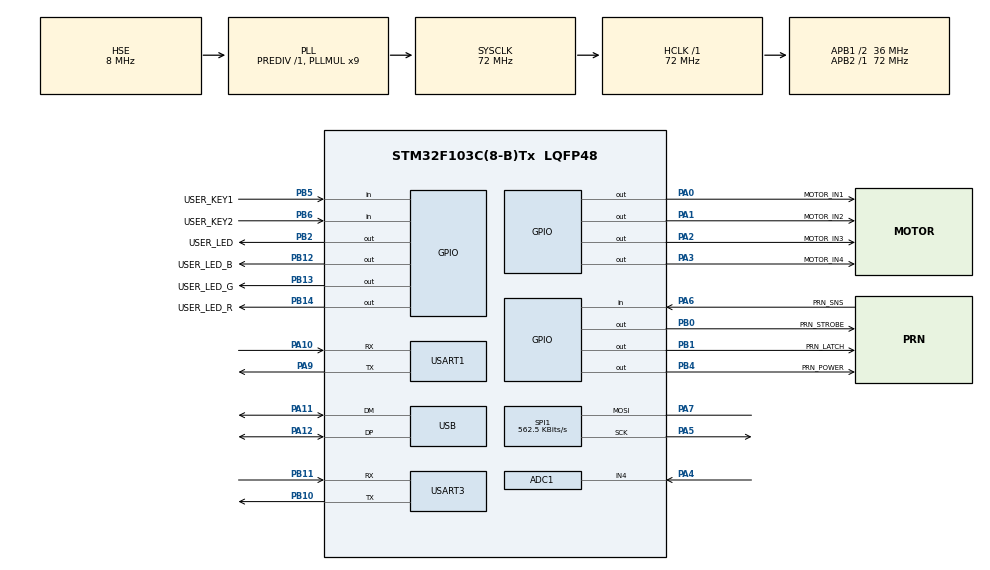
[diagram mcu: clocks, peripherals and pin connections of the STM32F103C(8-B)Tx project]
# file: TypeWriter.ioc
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ADC1.Channel-0\#ChannelRegularConversion=ADC_CHANNEL_4
ADC1.ContinuousConvMode=ENABLE
ADC1.NbrOfConversionFlag=1
ADC1.Rank-0\#ChannelRegularConversion=1
ADC1.SamplingTime-0\#ChannelRegularConversion=ADC_SAMPLETIME_239CYCLES_5
ADC1.master=1
Dma.ADC1.0.Direction=DMA_PERIPH_TO_MEMORY
Dma.ADC1.0.Instance=DMA1_Channel1
Dma.ADC1.0.MemDataAlignment=DMA_MDATAALIGN_HALFWORD
Dma.ADC1.0.MemInc=DMA_MINC_ENABLE
Dma.ADC1.0.Mode=DMA_CIRCULAR
Dma.ADC1.0.PeriphDataAlignment=DMA_PDATAALIGN_HALFWORD
Dma.ADC1.0.PeriphInc=DMA_PINC_DISABLE
Dma.ADC1.0.Priority=DMA_PRIORITY_LOW
Dma.Request0=ADC1
FREERTOS.Queues01=usblinkRxRequestQueue,1,uint8_t,0,Dynamic,NULL,NULL
FREERTOS.Tasks01=peripheralTask,16,150,peripheralStartTask,Default,NULL,Dynamic,NULL,NULL;usblinkTxTask,8,64,usblinkTxStartTask,Default,NULL,Dynamic,NULL,NULL;usblinkRxTask,8,200,usblinkRxStartTask,Default,NULL,Dynamic,NULL,NULL;inoutDeviceTask,16,64,inoutDeviceStartTask,Default,NULL,Dynamic,NULL,NULL
FREERTOS.configMINIMAL_STACK_SIZE=64
Mcu.Family=STM32F1
Mcu.Name=STM32F103C(8-B)Tx
Mcu.Package=LQFP48
NVIC.ADC1_2_IRQn=true\:5\:0\:false\:false\:true\:true\:true\:true
NVIC.DMA1_Channel1_IRQn=true\:5\:0\:false\:false\:true\:true\:false\:true
NVIC.PriorityGroup=NVIC_PRIORITYGROUP_4
NVIC.TIM1_UP_IRQn=true\:0\:0\:false\:false\:true\:false\:false\:true
NVIC.TIM3_IRQn=true\:5\:0\:false\:false\:true\:true\:true\:true
NVIC.TIM4_IRQn=true\:5\:0\:false\:false\:true\:true\:true\:true
NVIC.TimeBase=TIM1_UP_IRQn
NVIC.TimeBaseIP=TIM1
NVIC.USB_HP_CAN1_TX_IRQn=true\:5\:0\:false\:false\:true\:false\:true\:true
NVIC.USB_LP_CAN1_RX0_IRQn=true\:5\:0\:false\:false\:true\:false\:false\:true
PA0-WKUP.GPIO_Label=MOTOR_IN1
PA0-WKUP.Signal=GPIO_Output
PA1.GPIO_Label=MOTOR_IN2
PA1.Signal=GPIO_Output
PA10.Mode=Asynchronous
PA10.Signal=USART1_RX
PA11.Mode=Device
PA11.Signal=USB_DM
PA12.Mode=Device
PA12.Signal=USB_DP
PA13.Mode=Serial_Wire
PA13.Signal=SYS_JTMS-SWDIO
PA14.Mode=Serial_Wire
PA14.Signal=SYS_JTCK-SWCLK
PA2.GPIO_Label=MOTOR_IN3
PA2.Signal=GPIO_Output
PA3.GPIO_Label=MOTOR_IN4
PA3.Signal=GPIO_Output
PA4.Signal=ADCx_IN4
PA5.Mode=Simplex_Bidirectional_Master
PA5.Signal=SPI1_SCK
PA6.GPIO_Label=PRN_SNS
PA6.Signal=GPIO_Input
PA7.Mode=Simplex_Bidirectional_Master
PA7.Signal=SPI1_MOSI
PA9.Mode=Asynchronous
PA9.Signal=USART1_TX
PB0.GPIO_Label=PRN_STROBE
PB0.Signal=GPIO_Output
PB1.GPIO_Label=PRN_LATCH
PB1.Signal=GPIO_Output
PB10.Mode=Asynchronous
PB10.Signal=USART3_TX
PB11.Mode=Asynchronous
PB11.Signal=USART3_RX
PB12.GPIO_Label=USER_LED_B
PB12.PinState=GPIO_PIN_SET
PB12.Signal=GPIO_Output
PB13.GPIO_Label=USER_LED_G
PB13.PinState=GPIO_PIN_SET
PB13.Signal=GPIO_Output
PB14.GPIO_Label=USER_LED_R
PB14.PinState=GPIO_PIN_SET
PB14.Signal=GPIO_Output
PB2.GPIO_Label=USER_LED
PB2.Signal=GPIO_Output
PB4.GPIO_Label=PRN_POWER
PB4.Signal=GPIO_Output
PB5.GPIO_Label=USER_KEY1
PB5.GPIO_PuPd=GPIO_PULLUP
PB5.Signal=GPIO_Input
PB6.GPIO_Label=USER_KEY2
PB6.GPIO_PuPd=GPIO_PULLUP
PB6.Signal=GPIO_Input
PD0-OSC_IN.Mode=HSE-External-Oscillator
PD0-OSC_IN.Signal=RCC_OSC_IN
PD1-OSC_OUT.Mode=HSE-External-Oscillator
PD1-OSC_OUT.Signal=RCC_OSC_OUT
ProjectManager.HeapSize=0x400
ProjectManager.StackSize=0x400
ProjectManager.TargetToolchain=MDK-ARM V5.27
RCC.ADCPresc=RCC_ADCPCLK2_DIV6
RCC.AHBFreq_Value=72000000
RCC.APB1CLKDivider=RCC_HCLK_DIV2
RCC.APB1Freq_Value=36000000
RCC.APB1TimFreq_Value=72000000
RCC.APB2Freq_Value=72000000
RCC.APB2TimFreq_Value=72000000
RCC.HCLKFreq_Value=72000000
RCC.PLLMUL=RCC_PLL_MUL9
RCC.PLLSourceVirtual=RCC_PLLSOURCE_HSE
RCC.SYSCLKFreq_VALUE=72000000
RCC.SYSCLKSource=RCC_SYSCLKSOURCE_PLLCLK
RCC.USBFreq_Value=48000000
RCC.USBPrescaler=RCC_USBCLKSOURCE_PLL_DIV1_5
SH.ADCx_IN4.0=ADC1_IN4,IN4
SPI1.BaudRatePrescaler=SPI_BAUDRATEPRESCALER_128
SPI1.CalculateBaudRate=562.5 KBits/s
SPI1.Direction=SPI_DIRECTION_1LINE
SPI1.Mode=SPI_MODE_MASTER
SPI1.VirtualType=VM_MASTER
TIM3.Period=720-1
TIM3.Prescaler=100-1
TIM4.AutoReloadPreload=TIM_AUTORELOAD_PRELOAD_ENABLE
TIM4.Period=100-1
TIM4.Prescaler=72-1
USART1.VirtualMode=VM_ASYNC
USART3.VirtualMode=VM_ASYNC
USB_DEVICE.APP_RX_DATA_SIZE=200
USB_DEVICE.APP_TX_DATA_SIZE=200
USB_DEVICE.CLASS_NAME_FS=CDC
USB_DEVICE.PRODUCT_STRING_CDC_FS=TypeWriter Virtual ComPort
USB_DEVICE.VirtualMode=Cdc
USB_DEVICE.VirtualModeFS=Cdc_FS
VP_FREERTOS_VS_CMSIS_V2.Mode=CMSIS_V2
VP_SYS_VS_tim1.Mode=TIM1
VP_TIM3_VS_ClockSourceINT.Mode=Internal
VP_TIM4_VS_ClockSourceINT.Mode=Internal
VP_USB_DEVICE_VS_USB_DEVICE_CDC_FS.Mode=CDC_FS
board=custom

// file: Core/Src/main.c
/* USER CODE BEGIN Header */
/**
  ******************************************************************************
  * @file           : main.c
  * @brief          : Main program body
  ******************************************************************************
  * @attention
  *
  * <h2><center>&copy; Copyright (c) 2021 STMicroelectronics.
  * All rights reserved.</center></h2>
  *
  * This software component is licensed by ST under Ultimate Liberty license
  * SLA0044, the "License"; You may not use this file except in compliance with
  * the License. You may obtain a copy of the License at:
  *                             www.st.com/SLA0044
  *
  ******************************************************************************
  */
/* USER CODE END Header */
#include "main.h"
#include "cmsis_os.h"
#include "adc.h"
#include "dma.h"
#include "spi.h"
#include "tim.h"
#include "usart.h"
#include "usb_device.h"
#include "gpio.h"

/* USER CODE BEGIN Includes */
#include "user_app.h"
/* USER CODE END Includes */

void SystemClock_Config(void);
void MX_FREERTOS_Init(void);

int main(void)
{

  /* MCU Configuration--------------------------------------------------------*/

  /* Reset of all peripherals, Initializes the Flash interface and the Systick. */
  HAL_Init();

  /* Configure the system clock */
  SystemClock_Config();

  /* Initialize all configured peripherals */
  MX_GPIO_Init();
  MX_DMA_Init();
  MX_ADC1_Init();
  MX_SPI1_Init();
  MX_TIM3_Init();
  MX_USART1_UART_Init();
  MX_USART3_UART_Init();
  MX_TIM4_Init();
  /* USER CODE BEGIN 2 */

  USER_SYS_Init();

  /* USER CODE END 2 */

  /* Init scheduler */
  osKernelInitialize();  /* Call init function for freertos objects (in freertos.c) */
  MX_FREERTOS_Init();
  /* Start scheduler */
  osKernelStart();

  /* We should never get here as control is now taken by the scheduler */
  /* Infinite loop */
  while (1)
  {

  }
}

void SystemClock_Config(void)
{
  RCC_OscInitTypeDef RCC_OscInitStruct = {0};
  RCC_ClkInitTypeDef RCC_ClkInitStruct = {0};
  RCC_PeriphCLKInitTypeDef PeriphClkInit = {0};

  /** Initializes the RCC Oscillators according to the specified parameters
  * in the RCC_OscInitTypeDef structure.
  */
  RCC_OscInitStruct.OscillatorType = RCC_OSCILLATORTYPE_HSE;
  RCC_OscInitStruct.HSEState = RCC_HSE_ON;
  RCC_OscInitStruct.HSEPredivValue = RCC_HSE_PREDIV_DIV1;
  RCC_OscInitStruct.HSIState = RCC_HSI_ON;
  RCC_OscInitStruct.PLL.PLLState = RCC_PLL_ON;
  RCC_OscInitStruct.PLL.PLLSource = RCC_PLLSOURCE_HSE;
  RCC_OscInitStruct.PLL.PLLMUL = RCC_PLL_MUL9;
  if (HAL_RCC_OscConfig(&RCC_OscInitStruct) != HAL_OK)
  {
    Error_Handler();
  }
  /** Initializes the CPU, AHB and APB buses clocks
  */
  RCC_ClkInitStruct.ClockType = RCC_CLOCKTYPE_HCLK|RCC_CLOCKTYPE_SYSCLK
                              |RCC_CLOCKTYPE_PCLK1|RCC_CLOCKTYPE_PCLK2;
  RCC_ClkInitStruct.SYSCLKSource = RCC_SYSCLKSOURCE_PLLCLK;
  RCC_ClkInitStruct.AHBCLKDivider = RCC_SYSCLK_DIV1;
  RCC_ClkInitStruct.APB1CLKDivider = RCC_HCLK_DIV2;
  RCC_ClkInitStruct.APB2CLKDivider = RCC_HCLK_DIV1;

  if (HAL_RCC_ClockConfig(&RCC_ClkInitStruct, FLASH_LATENCY_2) != HAL_OK)
  {
    Error_Handler();
  }
  PeriphClkInit.PeriphClockSelection = RCC_PERIPHCLK_ADC|RCC_PERIPHCLK_USB;
  PeriphClkInit.AdcClockSelection = RCC_ADCPCLK2_DIV6;
  PeriphClkInit.UsbClockSelection = RCC_USBCLKSOURCE_PLL_DIV1_5;
  if (HAL_RCCEx_PeriphCLKConfig(&PeriphClkInit) != HAL_OK)
  {
    Error_Handler();
  }
}

 /**
  * @brief  Period elapsed callback in non blocking mode
  * @note   This function is called  when TIM1 interrupt took place, inside
  * HAL_TIM_IRQHandler(). It makes a direct call to HAL_IncTick() to increment
  * a global variable "uwTick" used as application time base.
  * @param  htim : TIM handle
  * @retval None
  */
void HAL_TIM_PeriodElapsedCallback(TIM_HandleTypeDef *htim)
{
  /* USER CODE BEGIN Callback 0 */

  static uint8_t _500us_tick = 0;

  /* USER CODE END Callback 0 */
  if (htim->Instance == TIM1) {
    HAL_IncTick();
  }
  /* USER CODE BEGIN Callback 1 */
  if (htim->Instance == TIM4)
  {
    // 10khz & 100us
    led_shining_loop();
    if (++_500us_tick > 5)
    {
      _500us_tick = 0;
      motor_phases_update_loop();
    }
  }
  /* USER CODE END Callback 1 */
}

void Error_Handler(void)
{
}

/************************ (C) COPYRIGHT STMicroelectronics *****END OF FILE****/

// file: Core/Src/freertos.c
/* USER CODE BEGIN Header */
/**
  ******************************************************************************
  * File Name          : freertos.c
  * Description        : Code for freertos applications
  ******************************************************************************
  * @attention
  *
  * <h2><center>&copy; Copyright (c) 2021 STMicroelectronics.
  * All rights reserved.</center></h2>
  *
  * This software component is licensed by ST under Ultimate Liberty license
  * SLA0044, the "License"; You may not use this file except in compliance with
  * the License. You may obtain a copy of the License at:
  *                             www.st.com/SLA0044
  *
  ******************************************************************************
  */
/* USER CODE END Header */

#include "FreeRTOS.h"
#include "task.h"
#include "main.h"
#include "cmsis_os.h"

/* USER CODE BEGIN Includes */
#include "user_app.h"
#include "queue.h"
#include "font_thermal_printer.h"
/* USER CODE END Includes */

/* USER CODE BEGIN PD */

#define PRINTER_POWER_ON() HAL_GPIO_WritePin(PRN_POWER_GPIO_Port, PRN_POWER_Pin, GPIO_PIN_SET)
#define PRINTER_POWER_OFF() HAL_GPIO_WritePin(PRN_POWER_GPIO_Port, PRN_POWER_Pin, GPIO_PIN_RESET)

/* USER CODE END PD */

/* USER CODE BEGIN Variables */

static uint16_t adc_val;
static uint8_t buf[2] = {0};

/* USER CODE END Variables */
/* Definitions for peripheralTask */
osThreadId_t peripheralTaskHandle;
const osThreadAttr_t peripheralTask_attributes = {
    .name = "peripheralTask",
    .stack_size = 64 * 4,
    .priority = (osPriority_t)osPriorityBelowNormal,
};
/* Definitions for usblinkTxTask */
osThreadId_t usblinkTxTaskHandle;
const osThreadAttr_t usblinkTxTask_attributes = {
    .name = "usblinkTxTask",
    .stack_size = 64 * 4,
    .priority = (osPriority_t)osPriorityLow,
};
/* Definitions for usblinkRxTask */
osThreadId_t usblinkRxTaskHandle;
const osThreadAttr_t usblinkRxTask_attributes = {
    .name = "usblinkRxTask",
    .stack_size = 200 * 4,
    .priority = (osPriority_t)osPriorityLow,
};
/* Definitions for inoutDeviceTask */
osThreadId_t inoutDeviceTaskHandle;
const osThreadAttr_t inoutDeviceTask_attributes = {
    .name = "inoutDeviceTask",
    .stack_size = 200 * 4,
    .priority = (osPriority_t)osPriorityBelowNormal,
};
/* Definitions for usblinkRxRequestQueue */
osMessageQueueId_t usblinkRxRequestQueueHandle;
const osMessageQueueAttr_t usblinkRxRequestQueue_attributes = {
    .name = "usblinkRxRequestQueue"};

void peripheralStartTask(void *argument);
void usblinkTxStartTask(void *argument);
void usblinkRxStartTask(void *argument);
void inoutDeviceStartTask(void *argument);

extern void MX_USB_DEVICE_Init(void);
void MX_FREERTOS_Init(void); /* (MISRA C 2004 rule 8.1) */

void MX_FREERTOS_Init(void)
{

  /* Create the queue(s) */
  /* creation of usblinkRxRequestQueue */
  usblinkRxRequestQueueHandle = osMessageQueueNew(1, sizeof(uint8_t), &usblinkRxRequestQueue_attributes);

  /* Create the thread(s) */
  /* creation of peripheralTask */
  peripheralTaskHandle = osThreadNew(peripheralStartTask, NULL, &peripheralTask_attributes);

  /* creation of usblinkTxTask */
  usblinkTxTaskHandle = osThreadNew(usblinkTxStartTask, NULL, &usblinkTxTask_attributes);

  /* creation of usblinkRxTask */
  usblinkRxTaskHandle = osThreadNew(usblinkRxStartTask, NULL, &usblinkRxTask_attributes);

  /* creation of inoutDeviceTask */
  inoutDeviceTaskHandle = osThreadNew(inoutDeviceStartTask, NULL, &inoutDeviceTask_attributes);

}

void peripheralStartTask(void *argument)
{
  /* init code for USB_DEVICE */
  MX_USB_DEVICE_Init();
  /* USER CODE BEGIN peripheralStartTask */
  while (!isSysInitOver)
    ;

  while (!usblinkMessage.is_cdc_init_ok)
    ; // 等待usb枚举成功才可进行发送

  /* Infinite loop */
  for (;;)
  {
    adc_val = adc_get_filter_value();
    buf[0] = adc_val >> 8;
    buf[1] = adc_val & 0xFF;
    usb_send_frame(_cmd_temper_update, 2, buf);

    osDelay(1000);
  }
  /* USER CODE END peripheralStartTask */
}

void usblinkTxStartTask(void *argument)
{
  /* USER CODE BEGIN usblinkTxStartTask */
  while (!isSysInitOver)
    ;
  /* Infinite loop */
  for (;;)
  {
    if (usblinkMessage.tx.length)
    {
      uint8_t retval;
      retval = CDC_Transmit_FS(usblinkMessage.tx.info, usblinkMessage.tx.length);
      if (retval == USBD_OK)
      {
        usblinkMessage.tx.length = 0;
      }
    }
    osDelay(1);
  }
  /* USER CODE END usblinkTxStartTask */
}

void usblinkRxStartTask(void *argument)
{
  /* USER CODE BEGIN usblinkRxStartTask */

  // static uint16_t pos_char = 0;

  /* Infinite loop */
  for (;;)
  {
    uint8_t request;

    if (xQueueReceive(usblinkRxRequestQueueHandle, &request, 1000))
    {
      switch (hostComProtocol.info.command)
      {
      case _cmd_single_word_write:
      {
        for (uint8_t i = 0; i < hostComProtocol.info.valid_length; i++)
        {
          if (hostComProtocol.info.valid_data[i] == '\n' || hostComProtocol.info.valid_data[i] == FONT_ENTER_CHAR_CODE)
          {
            printer_new_lines(printerInfo.line_height, 1);
          }
          else
          {
            printer_write_single_char(hostComProtocol.info.valid_data[i]);
          }
        }
        usb_send_frame(_cmd_one_step_ack, 0, 0);
        break;
      }

      case _cmd_image_text_write:
      {
        struct imageTransmitInfoDef image_text;
        image_text.width = hostComProtocol.info.valid_data[0];
        image_text.height = hostComProtocol.info.valid_data[1];
        image_text.buf.length = hostComProtocol.info.valid_data[2] * 256 + hostComProtocol.info.valid_data[3];
        image_text.buf.val = hostComProtocol.info.valid_data + 4;
        HAL_GPIO_TogglePin(USER_LED_B_GPIO_Port, USER_LED_B_Pin);
        printer_write_image_text(image_text);
        HAL_GPIO_TogglePin(USER_LED_B_GPIO_Port, USER_LED_B_Pin);
        // osDelay(50);
        usb_send_frame(_cmd_one_step_ack, 0, 0);
        break;
      }

      case _cmd_special_order:
      {
        uint8_t height;
        height = hostComProtocol.info.valid_data[1]; // 只取高度信息
        printer_new_lines(height, 1);
        usb_send_frame(_cmd_one_step_ack, 0, 0);
        break;
      }

      case _cmd_change_scale:
      {
        uint8_t scale;
        scale = hostComProtocol.info.valid_data[1]; // 只取[1]位信息，[0]空闲
        printer_change_char_scale(scale);
        break;
      }

      case _cmd_change_offset:
      {
        int8_t offset_sign = 1;
        if (hostComProtocol.info.valid_data[0])
        {
          offset_sign = -1;
        }
        printerInfo.height_offset = offset_sign * hostComProtocol.info.valid_data[1];
        break;
      }
      }
    }
    osDelay(1);
  }
  /* USER CODE END usblinkRxStartTask */
}

void inoutDeviceStartTask(void *argument)
{
  /* USER CODE BEGIN inoutDeviceStartTask */
  while (!isSysInitOver)
    ;

  // start adc-dma
  HAL_ADC_Start_DMA(&hadc1, (uint32_t *)&adc_raw_data, ADC_RAW_DATA_DEPTH * ADC_CHANNEL_NUMS);

  // printer init
  PRINTER_POWER_ON();
  osDelay(20);
  printer_init();
  PRINTER_POWER_OFF();

  /* Infinite loop */
  for (;;)
  {
    KEY_PinState val;
    val = key_scan_signal(0, HAL_GPIO_ReadPin(USER_KEY1_GPIO_Port, USER_KEY1_Pin));
    if (val == KEY_SIGNAL_RELEASE)
    {
      printer_new_lines(printerInfo.line_height, -1);
      // HAL_GPIO_TogglePin(USER_LED_B_GPIO_Port, USER_LED_B_Pin);
      // HAL_GPIO_TogglePin(PRN_POWER_GPIO_Port, PRN_POWER_Pin);
    }
    val = key_scan_signal(1, HAL_GPIO_ReadPin(USER_KEY2_GPIO_Port, USER_KEY2_Pin));
    //    if (val == KEY_SIGNAL_RELEASE)
    //    {
    //      printer_new_lines(printerInfo.line_height, 1);
    //    }
    if (keyPress.valid[1])
    {
      printer_new_lines(printerInfo.line_height, 1);
    }

    osDelay(10);
  }
  /* USER CODE END inoutDeviceStartTask */
}

/************************ (C) COPYRIGHT STMicroelectronics *****END OF FILE****/
